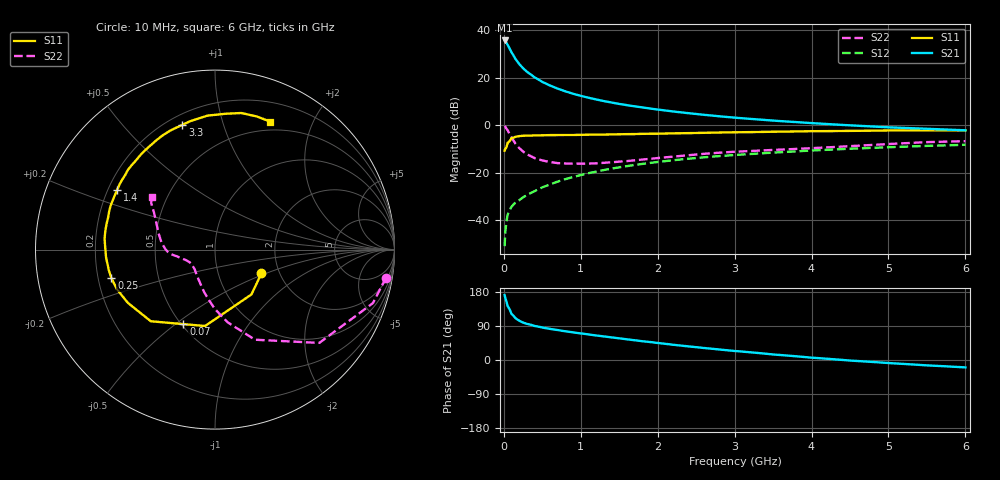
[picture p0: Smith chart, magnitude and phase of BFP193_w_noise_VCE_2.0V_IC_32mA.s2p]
! (c) 2017  Infineon Technologies AG, Munich
! Infineon Technologies  Discrete & RF Semiconductors
! BFP193
! VCE =  2.0 V,  IC =  32 mA
! Common Emitter S-Parameters:  Jan 2017
# GHz  S  MA  R  50
!  f  S11  S21  S12  S22
! GHz  MAG  ANG  MAG  ANG  MAG  ANG  MAG  ANG
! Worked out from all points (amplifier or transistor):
!   77 points, 10 MHz to 6 GHz, reference 50 ohm
!   highest |S21| = 35.8 dB at 10 MHz (marker M1)
!   |S21| within 3 dB of that: start of sweep to 68.49 MHz
!   unconditionally stable (mu >= 1): 658 MHz to 2.548 GHz
!   at 130 MHz: K = 0.52, MSG = 31.2 dB, |S12| = -33.3 dB
!   at 2.2 GHz: K = 1.01, MAG = 9.6 dB, |S12| = -14.8 dB
!   at 6 GHz: K = 0.94, MSG = 3.1 dB, |S12| = -8.3 dB
!   lowest NFmin = 1.24 dB at 450 MHz
!   S11 on the Smith chart (normalised r, x): 10 MHz: 1.61, -0.47; 70 MHz: 0.51, -0.53; 250 MHz: 0.26, -0.13; 1.4 GHz: 0.24, +0.27; 3.3 GHz: 0.26, +0.74; 6 GHz: 0.40, +1.44
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0.01  0.2907 -27.2  61.46 171.2  0.0028 83.9  0.9656 -9.3
0.02  0.322 -50.9  60.2 163.0  0.0058 81.6  0.9292 -18.7
0.05  0.4293 -97.4  49.73 141.9  0.013 62.2  0.7797 -41.8
0.07  0.451 -113.0  43.03 135.5  0.0154 59.1  0.6741 -49.5
0.1  0.5361 -131.9  34.48 121.4  0.0191 55.9  0.5492 -66.1
0.15  0.5693 -148.7  25.15 110.5  0.0232 54.4  0.4098 -80.3
0.2  0.589 -157.8  19.58 103.8  0.0262 55.3  0.3296 -90.3
0.25  0.5988 -164.6  15.95 98.8  0.0301 55.9  0.2782 -97.7
0.3  0.6028 -169.2  13.42 95.4  0.0336 57.6  0.2436 -104.5
0.4  0.6086 -176.1  10.22 89.9  0.0406 61.8  0.2023 -114.6
0.5  0.6123 178.5  8.21 85.7  0.0488 63.3  0.1803 -122.8
0.6  0.6182 174.3  6.885 82.1  0.0564 63.8  0.1673 -129.7
0.7  0.6198 170.6  5.912 79.0  0.0645 64.7  0.1585 -135.1
0.9  0.6216 163.6  4.61 72.9  0.0807 64.2  0.1545 -143.4
1.1  0.6309 157.4  3.801 67.5  0.0972 63.3  0.1551 -149.9
1.4  0.6385 148.6  3.014 59.7  0.1212 60.5  0.1652 -157.3
2.1  0.6674 129.8  2.043 42.7  0.1747 52.1  0.2098 -168.9
3.1  0.7117 108.2  1.403 22.2  0.2404 39.4  0.2801 178.2
3.3  0.7187 104.6  1.325 18.6  0.252 37.1  0.29 175.2
4.1  0.7488 91.7  1.084 4.8  0.2973 27.5  0.3338 161.9
5.1  0.7747 77.8  0.89 -9.2  0.3475 16.0  0.4082 147.4
6  0.7767 66.7  0.781 -19.5  0.3866 6.1  0.4608 140.1
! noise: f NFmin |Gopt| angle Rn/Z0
0.45  1.24  0.35  -173  0.08
0.9  1.3  0.39  -171  0.07
1.9  1.92  0.58  -136  0.17
2.4  2.25  0.62  -121  0.38
